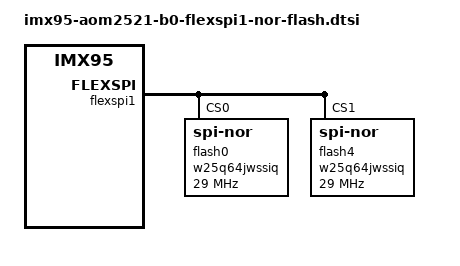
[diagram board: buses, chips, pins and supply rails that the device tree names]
/ {
	aliases {
		mtd0 = &flash0;
		mtd1 = &flash4;
	};
};

&flexspi1 {
	flash0: w25q64jwssiq@0 {
		reg = <0>;
		#address-cells = <1>;
		#size-cells = <1>;
		compatible = "jedec,spi-nor", "winbond,w25q64";
		spi-max-frequency = <29000000>;
		spi-tx-bus-width = <4>;
		spi-rx-bus-width = <4>;
	};

	flash4: w25q64jwssiq@1 {
		reg = <1>;
		#address-cells = <1>;
		#size-cells = <1>;
		compatible = "jedec,spi-nor", "winbond,w25q64";
		spi-max-frequency = <29000000>;
		spi-tx-bus-width = <4>;
		spi-rx-bus-width = <4>;
	};
};
